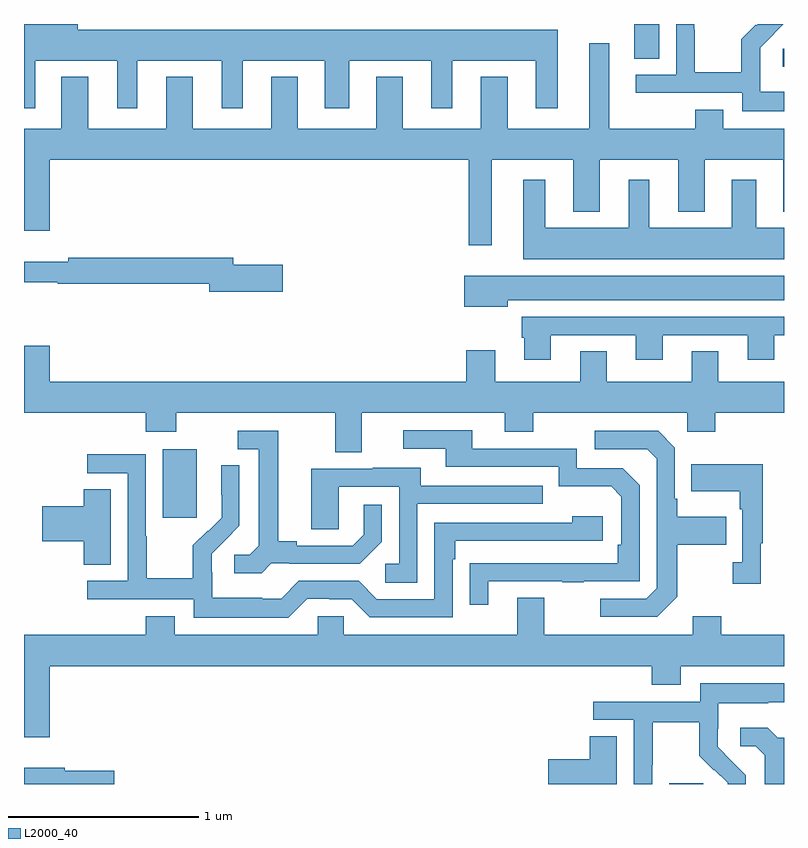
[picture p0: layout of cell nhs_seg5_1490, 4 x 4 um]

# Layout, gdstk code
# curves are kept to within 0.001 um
import gdstk
lib = gdstk.Library(unit=1e-6, precision=1e-09)
def R(c, l, rs):  # rectangles x0, y0, x1, y1
    for r in rs: c.add(gdstk.rectangle(r[:2], r[2:], *l))
def P(c, l, *ps):  # polygons
    for p in ps: c.add(gdstk.Polygon(p, *l))
L2000_40 = (2000, 40)

nhs_seg5_1490 = lib.new_cell('nhs_seg5_1490')
R(nhs_seg5_1490, L2000_40, [(204.395,862.799,204.574,862.803), (201.731,864.201,201.91,864.562), (204.993,866.573,205,866.67), (204.212,866.617,204.343,866.799)])
P(nhs_seg5_1490, L2000_40, [(201.058,866.606),(201.491,866.606),(201.491,866.355),(201.595,866.355),(201.595,866.606),(202.04,866.606),(202.04,866.355),(202.15,866.355),(202.15,866.606),(202.583,866.606),(202.583,866.355),(202.711,866.355),(202.711,866.606),(203.144,866.606),(203.144,866.355),(203.254,866.355),(203.254,866.606),(203.693,866.606),(203.693,866.355),(203.809,866.355),(203.809,866.77),(201.283,866.77),(201.283,866.799),(201,866.799),(201,866.355),(201.058,866.355)],
  [(205,866.443),(204.876,866.443),(204.876,866.577),(204.874,866.577),(204.874,866.674),(204.997,866.799),(204.861,866.799),(204.855,866.793),(204.852,866.796),(204.775,866.719),(204.775,866.545),(204.531,866.545),(204.531,866.768),(204.528,866.768),(204.528,866.799),(204.432,866.799),(204.432,866.532),(204.219,866.532),(204.219,866.436),(204.78,866.436),(204.78,866.339),(205,866.339)],
  [(201.197,866.521),(201.197,866.248),(201,866.248),(201,865.71),(201.136,865.71),(201.136,866.084),(203.34,866.084),(203.34,865.635),(203.461,865.635),(203.461,866.084),(203.891,866.084),(203.891,865.811),(204.031,865.811),(204.031,866.084),(204.443,866.084),(204.443,865.811),(204.583,865.811),(204.583,866.084),(204.995,866.084),(204.995,865.811),(205,865.811),(205,866.248),(204.679,866.248),(204.679,866.347),(204.532,866.347),(204.532,866.248),(204.079,866.248),(204.079,866.698),(203.975,866.698),(203.975,866.248),(203.545,866.248),(203.545,866.521),(203.405,866.521),(203.405,866.248),(202.993,866.248),(202.993,866.521),(202.853,866.521),(202.853,866.248),(202.441,866.248),(202.441,866.521),(202.301,866.521),(202.301,866.248),(201.889,866.248),(201.889,866.521),(201.749,866.521),(201.749,866.248),(201.337,866.248),(201.337,866.521)],
  [(205,865.726),(204.853,865.726),(204.853,865.978),(204.725,865.978),(204.725,865.726),(204.292,865.726),(204.292,865.978),(204.182,865.978),(204.182,865.726),(203.743,865.726),(203.743,865.978),(203.627,865.978),(203.627,865.562),(205,865.562)],
  [(202.363,865.532),(202.102,865.532),(202.102,865.568),(201.232,865.568),(201.232,865.549),(201,865.549),(201,865.44),(201.178,865.44),(201.178,865.432),(201.974,865.432),(201.974,865.39),(202.363,865.39)],
  [(203.545,865.346),(205,865.346),(205,865.474),(203.316,865.474),(203.316,865.31),(203.545,865.31)],
  [(203.773,865.161),(204.221,865.161),(204.221,865.032),(204.361,865.032),(204.361,865.161),(204.809,865.161),(204.809,865.032),(204.949,865.032),(204.949,865.161),(205,865.161),(205,865.257),(203.621,865.257),(203.621,865.149),(203.633,865.149),(203.633,865.032),(203.773,865.032)],
  [(202.777,864.752),(203.531,864.752),(203.531,864.653),(203.679,864.653),(203.679,864.752),(204.492,864.752),(204.492,864.653),(204.639,864.653),(204.639,864.752),(205,864.752),(205,864.916),(204.655,864.916),(204.655,865.076),(204.515,865.076),(204.515,864.916),(204.067,864.916),(204.067,865.076),(203.927,865.076),(203.927,864.916),(203.479,864.916),(203.479,865.081),(203.327,865.081),(203.327,864.916),(201.136,864.916),(201.136,865.105),(201,865.105),(201,864.752),(201.641,864.752),(201.641,864.653),(201.801,864.653),(201.801,864.752),(202.637,864.752),(202.637,864.544),(202.777,864.544)],
  [(203.443,863.865),(203.833,863.865),(203.833,863.86),(203.945,863.86),(203.945,863.865),(204.24,863.865),(204.24,864.372),(204.15,864.462),(203.91,864.462),(203.91,864.564),(203.359,864.564),(203.359,864.66),(202.995,864.66),(202.995,864.564),(203.219,864.564),(203.219,864.468),(203.814,864.468),(203.814,864.365),(204.091,864.365),(204.144,864.312),(204.144,864.058),(204.124,864.058),(204.124,863.961),(203.347,863.96),(203.347,863.742),(203.443,863.742)],
  [(204.439,863.785),(204.439,864.058),(204.695,864.058),(204.695,864.205),(204.439,864.205),(204.439,864.301),(204.426,864.301),(204.426,864.57),(204.339,864.657),(204.003,864.657),(204.003,864.561),(204.279,864.561),(204.33,864.51),(204.33,863.829),(204.276,863.775),(204.033,863.775),(204.033,863.679),(204.333,863.679)],
  [(202.302,863.961),(202.396,863.961),(202.396,863.958),(202.768,863.958),(202.884,864.074),(202.884,864.268),(202.787,864.268),(202.787,864.111),(202.73,864.054),(202.435,864.054),(202.435,864.077),(202.339,864.077),(202.339,864.657),(202.125,864.657),(202.125,864.561),(202.235,864.561),(202.235,864.053),(202.188,864.006),(202.107,864.006),(202.107,863.909),(202.25,863.909)],
  [(202.491,863.775),(202.607,863.775),(202.607,863.772),(202.725,863.772),(202.821,863.676),(203.256,863.676),(203.256,863.981),(203.269,863.981),(203.269,864.078),(204.046,864.078),(204.046,864.208),(203.885,864.208),(203.885,864.174),(203.16,864.174),(203.16,863.772),(202.857,863.772),(202.761,863.868),(202.446,863.868),(202.353,863.775),(202.253,863.775),(202.253,863.779),(201.99,863.779),(201.99,863.913),(201.988,863.913),(201.988,864.01),(202.134,864.158),(202.134,864.476),(202.038,864.476),(202.038,864.322),(202.04,864.322),(202.04,864.2),(201.969,864.129),(201.966,864.132),(201.889,864.055),(201.889,863.881),(201.645,863.881),(201.645,864.104),(201.642,864.104),(201.642,864.534),(201.333,864.534),(201.333,864.435),(201.546,864.435),(201.546,863.868),(201.333,863.868),(201.333,863.772),(201.894,863.772),(201.894,863.675),(202.391,863.675)],
  [(204.877,864.065),(204.889,864.065),(204.889,864.481),(204.511,864.481),(204.511,864.341),(204.768,864.341),(204.768,864.245),(204.78,864.245),(204.78,863.966),(204.729,863.966),(204.729,863.853),(204.877,863.853)],
  [(203.07,864.273),(203.729,864.273),(203.729,864.369),(203.089,864.369),(203.089,864.463),(202.835,864.463),(202.835,864.459),(202.511,864.459),(202.511,864.139),(202.656,864.139),(202.656,864.363),(202.974,864.363),(202.974,863.958),(202.902,863.958),(202.902,863.857),(203.07,863.857)],
  [(201.457,864.35),(201.314,864.35),(201.314,864.26),(201.096,864.26),(201.096,864.077),(201.314,864.077),(201.314,863.953),(201.457,863.953)],
  [(201.136,863.42),(204.305,863.42),(204.305,863.321),(204.457,863.321),(204.457,863.42),(205,863.42),(205,863.584),(204.669,863.584),(204.669,863.683),(204.521,863.683),(204.521,863.584),(203.737,863.584),(203.737,863.779),(203.597,863.779),(203.597,863.584),(202.683,863.584),(202.683,863.682),(202.545,863.682),(202.545,863.584),(201.793,863.584),(201.793,863.683),(201.641,863.683),(201.641,863.584),(201,863.584),(201,863.046),(201.136,863.046)],
  [(204.306,862.9),(204.309,862.9),(204.309,863.124),(204.553,863.124),(204.553,862.949),(204.63,862.872),(204.633,862.875),(204.704,862.805),(204.704,862.799),(204.798,862.799),(204.798,862.846),(204.652,862.994),(204.652,863.091),(204.654,863.091),(204.654,863.225),(204.917,863.225),(204.917,863.229),(205,863.229),(205,863.329),(204.558,863.329),(204.558,863.232),(203.997,863.232),(203.997,863.136),(204.21,863.136),(204.21,862.799),(204.306,862.799)],
  [(205,863.043),(204.966,863.043),(204.914,863.095),(204.771,863.095),(204.771,862.998),(204.852,862.998),(204.899,862.951),(204.899,862.799),(205,862.799)],
  [(204.121,863.051),(203.978,863.051),(203.978,862.928),(203.76,862.928),(203.76,862.799),(204.121,862.799)],
  [(201.475,862.868),(201.214,862.868),(201.214,862.885),(201,862.885),(201,862.799),(201.475,862.799)])

lib.write_gds('nhs_seg5_1490.gds')
